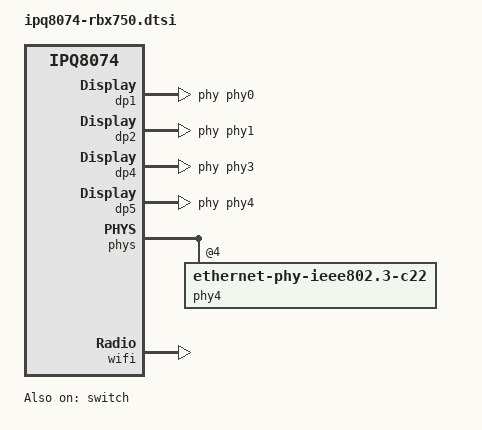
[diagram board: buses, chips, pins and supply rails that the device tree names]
// SPDX-License-Identifier: GPL-2.0-or-later OR MIT
/*
 * Copyright (c) 2026 Michael Lotz <mmlr@mlotz.ch>
 */

/dts-v1/;

#include "ipq8074-rbx750_850.dtsi"

/ {
	aliases {
		label-mac-device = &dp5;
	};
};

&switch {
	status = "okay";

	switch_lan_bmp = <(ESS_PORT2 | ESS_PORT4 | ESS_PORT5)>;
	switch_wan_bmp = <ESS_PORT1>;
	switch_mac_mode = <MAC_MODE_PSGMII>;

	qcom,port_phyinfo {
		port@1 {
			port_id = <1>;
			phy_address = <0>;
		};

		port@2 {
			port_id = <2>;
			phy_address = <1>;
		};

		port@4 {
			port_id = <4>;
			phy_address = <3>;
		};

		port@5 {
			port_id = <5>;
			phy_address = <4>;
		};
	};
};

&dp1 {
	status = "okay";
	phy-handle = <&phy0>;
	label = "wan";
	nvmem-cell-names = "mac-address";
	nvmem-cells = <&macaddr_boarddata 1>;
};

&dp2 {
	status = "okay";
	phy-handle = <&phy1>;
	label = "lan3";
	nvmem-cell-names = "mac-address";
	nvmem-cells = <&macaddr_boarddata 2>;
};

&dp4 {
	status = "okay";
	phy-handle = <&phy3>;
	label = "lan2";
	nvmem-cell-names = "mac-address";
	nvmem-cells = <&macaddr_boarddata 1>;
};

&dp5 {
	status = "okay";
	phy-handle = <&phy4>;
	label = "lan1";
	nvmem-cell-names = "mac-address";
	nvmem-cells = <&macaddr_boarddata 0>;
};

&phys {
	phy4: ethernet-phy@4 {
		compatible = "ethernet-phy-ieee802.3-c22";
		reg = <4>;
	};
};

&wifi {
	status = "okay";
	qcom,ath11k-calibration-variant = "Netgear-RBK750";
};
